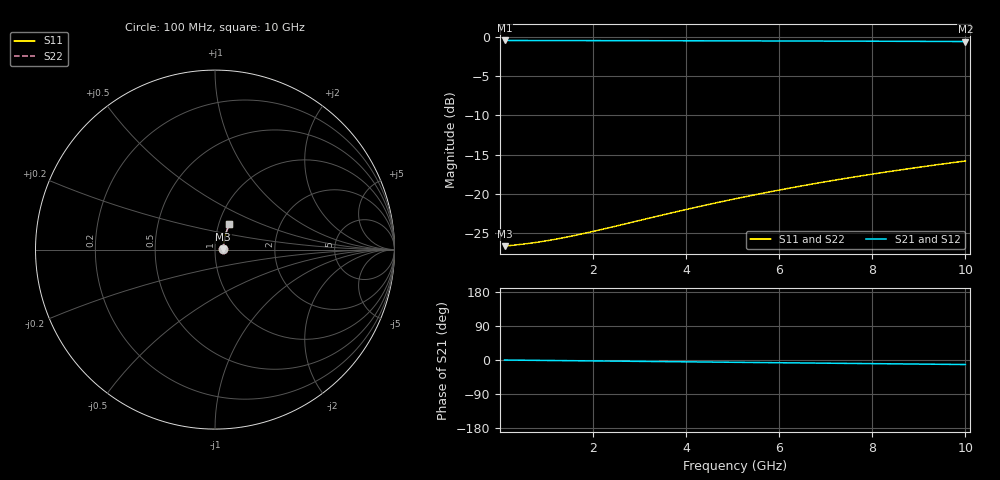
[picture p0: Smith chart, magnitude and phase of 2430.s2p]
# Hz S RI R 50.00
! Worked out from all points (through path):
!   100 points, 100 MHz to 10 GHz, reference 50 ohm
!   highest |S21| = -0.41 dB at 100 MHz (marker M1); lowest = -0.5 dB at 10 GHz (marker M2)
!   group delay of S21, straight-line fit = 3.32 ps
!   lowest |S11| = -26.7 dB at 100 MHz (marker M3), VSWR 1.10, Z = 54.8 + j0.162 ohm
!   |S11| at or under -10 dB: start of sweep to end of sweep
!   |S22| runs from -26.7 to -15.8 dB; largest |S21 - S12| = 0
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1e8  0.0461 0.00147  0.9539 -0.00201  0.9539 -0.00201  0.0461 0.00147
6e8  0.0471 0.00881  0.9528 -0.012  0.9528 -0.012  0.0471 0.00881
9e8  0.0476 0.0132  0.9524 -0.018  0.9524 -0.018  0.0476 0.0132
1.1e9  0.0479 0.0161  0.9521 -0.022  0.9521 -0.022  0.0479 0.0161
1.3e9  0.0482 0.0191  0.9518 -0.026  0.9518 -0.026  0.0482 0.0191
1.5e9  0.0485 0.022  0.9515 -0.03  0.9515 -0.03  0.0485 0.022
1.8e9  0.0489 0.0264  0.951 -0.036  0.951 -0.036  0.0489 0.0264
2.3e9  0.0498 0.0336  0.9501 -0.0459  0.9501 -0.0459  0.0498 0.0336
3.4e9  0.0521 0.0496  0.9477 -0.0678  0.9477 -0.0678  0.0521 0.0496
3.9e9  0.0534 0.0567  0.9464 -0.0776  0.9464 -0.0776  0.0534 0.0567
4.3e9  0.0545 0.0625  0.9452 -0.0855  0.9452 -0.0855  0.0545 0.0625
4.7e9  0.0557 0.0682  0.944 -0.0933  0.944 -0.0933  0.0557 0.0682
5.1e9  0.057 0.0738  0.9426 -0.1012  0.9426 -0.1012  0.057 0.0738
5.5e9  0.0583 0.0795  0.9412 -0.109  0.9412 -0.109  0.0583 0.0795
5.9e9  0.0598 0.0851  0.9397 -0.1167  0.9397 -0.1167  0.0598 0.0851
6.3e9  0.0613 0.0907  0.9381 -0.1245  0.9381 -0.1245  0.0613 0.0907
6.7e9  0.063 0.0963  0.9363 -0.1322  0.9363 -0.1322  0.063 0.0963
7.5e9  0.0665 0.1073  0.9326 -0.1475  0.9326 -0.1475  0.0665 0.1073
7.9e9  0.0684 0.1127  0.9307 -0.155  0.9307 -0.155  0.0684 0.1127
8.4e9  0.0709 0.1195  0.928 -0.1645  0.928 -0.1645  0.0709 0.1195
9.2e9  0.0751 0.1301  0.9236 -0.1794  0.9236 -0.1794  0.0751 0.1301
1e10  0.0797 0.1406  0.9188 -0.1942  0.9188 -0.1942  0.0797 0.1406
